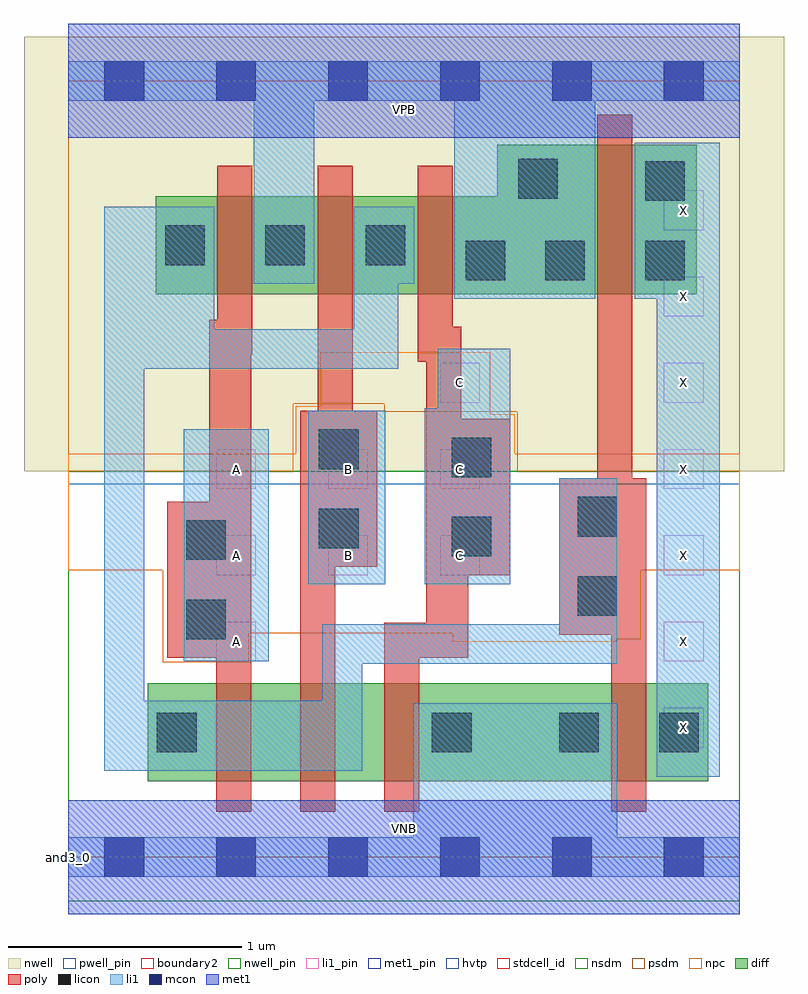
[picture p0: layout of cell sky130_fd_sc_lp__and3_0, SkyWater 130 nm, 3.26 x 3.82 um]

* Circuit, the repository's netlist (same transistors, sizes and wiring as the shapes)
* Copyright 2020 The SkyWater PDK Authors
*
* Licensed under the Apache License, Version 2.0 (the "License");
* you may not use this file except in compliance with the License.
* You may obtain a copy of the License at
*
*     https://www.apache.org/licenses/LICENSE-2.0
*
* Unless required by applicable law or agreed to in writing, software
* distributed under the License is distributed on an "AS IS" BASIS,
* WITHOUT WARRANTIES OR CONDITIONS OF ANY KIND, either express or implied.
* See the License for the specific language governing permissions and
* limitations under the License.
*
* SPDX-License-Identifier: Apache-2.0

.SUBCKT sky130_fd_sc_lp__and3_0 A B C VGND VNB VPB VPWR X
*.PININFO A:I B:I C:I VGND:I VNB:I VPB:I VPWR:I X:O
MMP0 y A VPWR VPB sky130_fd_pr__pfet_01v8_hvt m=1 w=0.42U l=0.15U mult=1 sa=0.265
+ sb=0.265 sd=0.28 area=0.063 perim=1.14
MMP1 y B VPWR VPB sky130_fd_pr__pfet_01v8_hvt m=1 w=0.42U l=0.15U mult=1 sa=0.265
+ sb=0.265 sd=0.28 area=0.063 perim=1.14
MMP2 y C VPWR VPB sky130_fd_pr__pfet_01v8_hvt m=1 w=0.42U l=0.15U mult=1 sa=0.265
+ sb=0.265 sd=0.28 area=0.063 perim=1.14
MMIP0 X y VPWR VPB sky130_fd_pr__pfet_01v8_hvt m=1 w=0.64U l=0.15U mult=1 sa=0.265
+ sb=0.265 sd=0.28 area=0.063 perim=1.14
MMN0 y A sndA VNB sky130_fd_pr__nfet_01v8 m=1 w=0.42U l=0.15U mult=1 sa=0.265 sb=0.265
+ sd=0.28 area=0.063 perim=1.14
MMN1 sndA B sndB VNB sky130_fd_pr__nfet_01v8 m=1 w=0.42U l=0.15U mult=1 sa=0.265
+ sb=0.265 sd=0.28 area=0.063 perim=1.14
MMN2 sndB C VGND VNB sky130_fd_pr__nfet_01v8 m=1 w=0.42U l=0.15U mult=1 sa=0.265
+ sb=0.265 sd=0.28 area=0.063 perim=1.14
MMIN0 X y VGND VNB sky130_fd_pr__nfet_01v8 m=1 w=0.42U l=0.15U mult=1 sa=0.265
+ sb=0.265 sd=0.28 area=0.063 perim=1.14
.ENDS sky130_fd_sc_lp__and3_0

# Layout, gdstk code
import gdstk
lib = gdstk.Library(unit=1e-6, precision=1e-09)
def R(c, l, rs):  # rectangles x0, y0, x1, y1
    for r in rs: c.add(gdstk.rectangle(r[:2], r[2:], *l))
def A(c, l, x, y, w, h, nx, ny, dx, dy):  # array of equal rectangles
    R(c, l, [(x+i*dx, y+j*dy, x+i*dx+w, y+j*dy+h) for i in range(nx) for j in range(ny)])
def P(c, l, *ps):  # polygons
    for p in ps: c.add(gdstk.Polygon(p, *l))
nwell_pin = (64, 16)
nwell = (64, 20)
diff = (65, 20)
poly = (66, 20)
licon = (66, 44)
li1_pin = (67, 16)
li1 = (67, 20)
mcon = (67, 44)
met1_pin = (68, 16)
met1 = (68, 20)
hvtp = (78, 44)
stdcell_id = (81, 4)
nsdm = (93, 44)
psdm = (94, 20)
npc = (95, 20)
pwell_pin = (122, 16)
boundary2 = (236, 0)

sky130_fd_sc_lp__and3_0 = lib.new_cell('sky130_fd_sc_lp__and3_0')
R(sky130_fd_sc_lp__and3_0, nwell_pin, [(0,3.085,2.88,3.33)])
R(sky130_fd_sc_lp__and3_0, nwell, [(-0.19,1.655,3.07,3.52)])
R(sky130_fd_sc_lp__and3_0, diff, [(0.34,0.325,2.745,0.745)])
P(sky130_fd_sc_lp__and3_0, diff, [(2.695,3.055),(1.84,3.055),(1.84,2.835),(0.375,2.835),(0.375,2.415),(2.695,2.415)])
P(sky130_fd_sc_lp__and3_0, poly, [(0.79,2.965),(0.64,2.965),(0.64,2.305),(0.605,2.305),(0.605,1.525),(0.425,1.525),(0.425,0.855),(0.635,0.855),(0.635,0.195),(0.785,0.195),(0.785,2.155),(0.79,2.155)],
  [(1.325,1.915),(1.22,1.915),(1.22,2.965),(1.07,2.965),(1.07,1.915),(0.995,1.915),(0.995,0.195),(1.145,0.195),(1.145,1.245),(1.325,1.245)],
  [(1.895,1.88),(1.685,1.88),(1.685,2.275),(1.65,2.275),(1.65,2.965),(1.5,2.965),(1.5,2.125),(1.535,2.125),(1.535,1.005),(1.355,1.005),(1.355,0.195),(1.505,0.195),(1.505,0.855),(1.715,0.855),(1.715,1.21),(1.895,1.21)],
  [(2.48,1.625),(2.42,1.625),(2.42,3.185),(2.27,3.185),(2.27,1.625),(2.105,1.625),(2.105,0.955),(2.33,0.955),(2.33,0.195),(2.48,0.195)])
A(sky130_fd_sc_lp__and3_0, licon, 0.415, 2.54, 0.17, 0.17, 3, 1, 0.43, 0)
R(sky130_fd_sc_lp__and3_0, licon, [(0.38,0.45,0.55,0.62), (1.56,0.45,1.73,0.62), (2.105,0.45,2.275,0.62), (2.535,0.45,2.705,0.62), (0.505,0.935,0.675,1.105), (2.185,1.035,2.355,1.205), (0.505,1.275,0.675,1.445), (1.645,1.29,1.815,1.46), (1.075,1.325,1.245,1.495), (2.185,1.375,2.355,1.545), (1.645,1.63,1.815,1.8), (1.075,1.665,1.245,1.835), (1.705,2.475,1.875,2.645), (2.045,2.475,2.215,2.645), (2.475,2.475,2.645,2.645), (2.475,2.815,2.645,2.985), (1.93,2.825,2.1,2.995)])
A(sky130_fd_sc_lp__and3_0, li1_pin, 2.555, 0.47, 0.17, 0.17, 1, 7, 0, 0.37)
A(sky130_fd_sc_lp__and3_0, li1_pin, 0.635, 1.21, 0.17, 0.17, 3, 2, 0.48, 0.37)
R(sky130_fd_sc_lp__and3_0, li1_pin, [(0.635,0.84,0.805,1.01), (1.595,1.95,1.765,2.12)])
R(sky130_fd_sc_lp__and3_0, li1, [(0.495,0.84,0.86,1.835), (1.03,1.17,1.36,1.915)])
P(sky130_fd_sc_lp__and3_0, li1, [(2.355,1.625),(2.105,1.625),(2.105,1),(1.09,1),(1.09,0.67),(0.325,0.67),(0.325,2.095),(1.415,2.095),(1.415,2.46),(1.485,2.46),(1.485,2.79),(1.225,2.79),(1.225,2.265),(0.625,2.265),(0.625,2.79),(0.155,2.79),(0.155,0.37),(1.26,0.37),(1.26,0.83),(2.355,0.83)],
  [(2.795,3.065),(2.43,3.065),(2.43,2.395),(2.525,2.395),(2.525,0.345),(2.795,0.345)],
  [(2.88,0.085),(2.355,0.085),(2.355,0.66),(1.48,0.66),(1.48,0.085),(0,0.085),(0,-0.085),(2.88,-0.085)],
  [(1.895,2.18),(1.585,2.18),(1.585,1.925),(1.53,1.925),(1.53,1.17),(1.895,1.17)],
  [(2.88,3.415),(0,3.415),(0,3.245),(0.795,3.245),(0.795,2.46),(1.055,2.46),(1.055,3.245),(1.655,3.245),(1.655,2.395),(2.26,2.395),(2.26,3.245),(2.88,3.245)])
A(sky130_fd_sc_lp__and3_0, mcon, 0.155, -0.085, 0.17, 0.17, 6, 2, 0.48, 3.33)
R(sky130_fd_sc_lp__and3_0, met1_pin, [(0,0,2.88,0.245), (0,3.085,2.88,3.33)])
R(sky130_fd_sc_lp__and3_0, met1, [(0,-0.245,2.88,0.245), (0,3.085,2.88,3.575)])
R(sky130_fd_sc_lp__and3_0, hvtp, [(0,1.6,2.88,3.33)])
R(sky130_fd_sc_lp__and3_0, stdcell_id, [(0,0,2.88,3.33)])
R(sky130_fd_sc_lp__and3_0, nsdm, [(0,-0.19,2.88,1.655)])
P(sky130_fd_sc_lp__and3_0, psdm, [(2.88,3.52),(0,3.52),(0,1.655),(0.965,1.655),(0.965,1.945),(1.355,1.945),(1.355,1.91),(1.925,1.91),(1.925,1.655),(2.88,1.655)])
P(sky130_fd_sc_lp__and3_0, npc, [(2.88,1.73),(1.915,1.73),(1.915,1.9),(1.81,1.9),(1.81,2.165),(1.08,2.165),(1.08,1.935),(0.975,1.935),(0.975,1.73),(0,1.73),(0,1.23),(0.405,1.23),(0.405,0.835),(0.775,0.835),(0.775,0.96),(1.65,0.96),(1.65,0.925),(2.35,0.925),(2.35,0.935),(2.455,0.935),(2.455,1.23),(2.88,1.23)])
R(sky130_fd_sc_lp__and3_0, pwell_pin, [(0,0,2.88,0.245)])
R(sky130_fd_sc_lp__and3_0, boundary2, [(0,0,2.88,3.33)])
sky130_fd_sc_lp__and3_0.add(gdstk.Label('VNB', (1.44,0.123), layer=64, texttype=59))
sky130_fd_sc_lp__and3_0.add(gdstk.Label('VPB', (1.44,3.208), layer=64, texttype=5))
sky130_fd_sc_lp__and3_0.add(gdstk.Label('and3_0', (0,0), layer=83, texttype=44))
sky130_fd_sc_lp__and3_0.add(gdstk.Label('VPWR', (1.44,3.208), layer=68, texttype=5))
sky130_fd_sc_lp__and3_0.add(gdstk.Label('VGND', (1.44,0.123), layer=68, texttype=5))
sky130_fd_sc_lp__and3_0.add(gdstk.Label('A', (0.72,0.925), layer=67, texttype=5))
sky130_fd_sc_lp__and3_0.add(gdstk.Label('A', (0.72,1.295), layer=67, texttype=5))
sky130_fd_sc_lp__and3_0.add(gdstk.Label('A', (0.72,1.665), layer=67, texttype=5))
sky130_fd_sc_lp__and3_0.add(gdstk.Label('B', (1.2,1.295), layer=67, texttype=5))
sky130_fd_sc_lp__and3_0.add(gdstk.Label('B', (1.2,1.665), layer=67, texttype=5))
sky130_fd_sc_lp__and3_0.add(gdstk.Label('X', (2.64,0.555), layer=67, texttype=5))
sky130_fd_sc_lp__and3_0.add(gdstk.Label('X', (2.64,0.925), layer=67, texttype=5))
sky130_fd_sc_lp__and3_0.add(gdstk.Label('X', (2.64,1.295), layer=67, texttype=5))
sky130_fd_sc_lp__and3_0.add(gdstk.Label('X', (2.64,1.665), layer=67, texttype=5))
sky130_fd_sc_lp__and3_0.add(gdstk.Label('X', (2.64,2.035), layer=67, texttype=5))
sky130_fd_sc_lp__and3_0.add(gdstk.Label('X', (2.64,2.405), layer=67, texttype=5))
sky130_fd_sc_lp__and3_0.add(gdstk.Label('X', (2.64,2.775), layer=67, texttype=5))
sky130_fd_sc_lp__and3_0.add(gdstk.Label('C', (1.68,1.295), layer=67, texttype=5))
sky130_fd_sc_lp__and3_0.add(gdstk.Label('C', (1.68,1.665), layer=67, texttype=5))
sky130_fd_sc_lp__and3_0.add(gdstk.Label('C', (1.68,2.035), layer=67, texttype=5))

lib.write_gds('sky130_fd_sc_lp__and3_0.gds')
